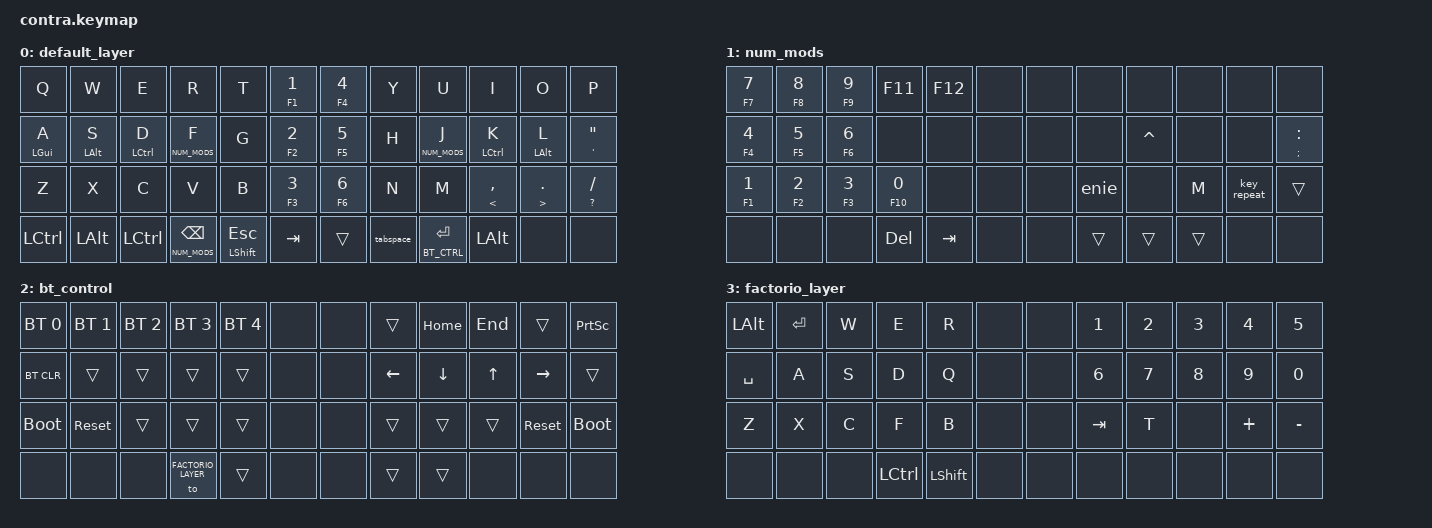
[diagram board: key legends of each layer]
#include <behaviors.dtsi>
#include <dt-bindings/zmk/keys.h>
#include <dt-bindings/zmk/bt.h>

#define DEFAULT  0
#define NUM_MODS 1
#define BT_CTRL  2
#define FACTORIO_LAYER  3

#define CE 2
#define CR 3
#define CT 4
#define CU 8
#define CI 9
#define CO 10
#define CP 11
#define CD 14
#define CF 15
#define CG 16
#define CH 19
#define CJ 20
#define CK 21
#define CC 26
#define CV 27
#define CM 32
#define CCOMMA 33

#define QUICK_TAP_MS 150

&lt {
    quick_tap_ms = <QUICK_TAP_MS>;
};

&mt {
    quick_tap_ms = <QUICK_TAP_MS>;
};

/ {
    macros {
        ZMK_MACRO(enie_lower,
            wait-ms = <20>;
            tap-ms = <20>;
            bindings
                = <&macro_press   &kp LALT>
                , <&macro_tap     &kp KP_N0 &kp KP_N2 &kp KP_N4 &kp KP_N1>
                , <&macro_release &kp LALT>
                ;
        )
        ZMK_MACRO(enie_upper,
            wait-ms = <20>;
            tap-ms = <20>;
            bindings
                = <&macro_press   &kp LALT>
                , <&macro_tap     &kp KP_N0 &kp KP_N2 &kp KP_N0 &kp KP_N9>
                , <&macro_release &kp LALT>
                ;
        )
        ZMK_MACRO(at_at,
            wait-ms = <30>;
            tap-ms = <30>;
            bindings
                = <&kp AT &kp AT>
                ;
        )
    };

    combos {
        compatible = "zmk,combos";
        combo_at {
            timeout-ms = <50>;
            key-positions = <CD CF>; // KP: D F
            bindings = <&kp AT>;
            layers = <DEFAULT>;
        };
        combo_tab {
            timeout-ms = <50>;
            key-positions = <CJ CK>; // KP: J K
            bindings = <&kp TAB>;
            layers = <DEFAULT>;
        };
        combo_lpar {
            timeout-ms = <50>;
            key-positions = <CD CV>; // KP: D V
            bindings = <&kp LPAR>;
            layers = <DEFAULT>;
        };
        combo_rpar {
            timeout-ms = <50>;
            key-positions = <CK CM>; // KP: K M
            bindings = <&kp RPAR>;
            layers = <DEFAULT>;
        };
        combo_minus {
            timeout-ms = <50>;
            key-positions = <CE CF>; // KP: E F
            bindings = <&mt UNDER MINUS>;
            layers = <DEFAULT>;
        };
        combo_amps {
            timeout-ms = <50>;
            key-positions = <CF CJ>; // KP: F J
            bindings = <&kp AMPS>;
            layers = <DEFAULT>;
        };
        combo_EXCL {
            timeout-ms = <50>;
            key-positions = <CG CH>; // KP: G H
            bindings = <&kp EXCL>;
            layers = <DEFAULT>;
        };
        combo_equal {
            timeout-ms = <50>;
            key-positions = <CI CJ>; // KP: I J
            bindings = <&mt PLUS EQUAL>;
            layers = <DEFAULT>;
        };
        combo_dollar {
            timeout-ms = <50>;
            key-positions = <CE CR>;
            bindings = <&kp DLLR>; // KP: E R
            layers = <DEFAULT>;
        };
        combo_percent {
            timeout-ms = <50>;
            key-positions = <CU CI>; // KP: U I
            bindings = <&kp PRCNT>;
            layers = <DEFAULT>;
        };
        combo_grave {
            timeout-ms = <50>;
            key-positions = <CM CCOMMA>; // KP: M ,
            bindings = <&mt TILDE GRAVE>;
            layers = <DEFAULT>;
        };
        combo_pipe {
            timeout-ms = <50>;
            key-positions = <CC CV>; // KP: C V
            bindings = <&mt BSLH PIPE>;
            layers = <DEFAULT>;
        };
        combo_lbkt2 {
            timeout-ms = <50>;
            key-positions = <CD CG>; // KP: D G
            bindings = <&mt LBRC LBKT>;
            layers = <DEFAULT>;
        };
        combo_rbkt2 {
            timeout-ms = <50>;
            key-positions = <CH CK>; // KP: H K
            bindings = <&mt RBRC RBKT>;
            layers = <DEFAULT>;
        };
        combo_under {
            timeout-ms = <50>;
            key-positions = <CR CD>; // KP: R D
            bindings = <&kp UNDER>;
            layers = <DEFAULT>;
        };
        combo_plus {
            timeout-ms = <50>;
            key-positions = <CU CK>; // KP: U K
            bindings = <&kp PLUS>;
            layers = <DEFAULT>;
        };
        combo_hash {
            timeout-ms = <50>;
            key-positions = <CR CJ>; // KP: R J
            bindings = <&kp HASH>;
            layers = <DEFAULT>;
        };
        combo_star {
            timeout-ms = <50>;
            key-positions = <CU CF>; // KP: U F
            bindings = <&kp STAR>;
            layers = <DEFAULT>;
        };

        combo_at_at {
            timeout-ms = <50>;
            key-positions = <CD CF>; // KP: D F
            bindings = <&at_at>;
            layers = <NUM_MODS>;
        };
         combo_esc {           
            timeout-ms = <50>;
            key-positions = <CD CT>; // KP: D T
            bindings = <&mt LSHIFT ESC>;
            layers = <DEFAULT>;
        };
        combo_default_layer {           
            timeout-ms = <50>;
            key-positions = <CO CP>; // KP: O P
            bindings = <&to DEFAULT>;
        };
        combo_factorio_tab {
            timeout-ms = <100>;
            key-positions = <CD CF>; // KP: D F
            bindings = <&kp TAB>;
            layers = <FACTORIO_LAYER>;
        };
        combo_factorio_esc {
            timeout-ms = <100>;
            key-positions = <CE CR>; // KP: E R
            bindings = <&kp ESC>;
            layers = <FACTORIO_LAYER>;
        };
    };

    behaviors {
            hm: homerow_mods {
                    compatible = "zmk,behavior-hold-tap";
                    label = "HOMEROW_MODS";
                    #binding-cells = <2>;
                    tapping-term-ms = <250>;
                    quick-tap-ms = <QUICK_TAP_MS>;
                    flavor = "tap-preferred";
                    bindings = <&kp>, <&kp>;
            };
            hl: homerow_layers {
                    compatible = "zmk,behavior-hold-tap";
                    label = "HOMEROW_LAYERS";
                    #binding-cells = <2>;
                    tapping-term-ms = <150>;
                    quick-tap-ms = <QUICK_TAP_MS>;
                    flavor = "tap-preferred";
                    bindings = <&mo>, <&kp>;
            };
            tabspace: tab_space  {
                    compatible = "zmk,behavior-mod-morph";
                    label = "TAB_SPACE";
                    #binding-cells = <0>;
                    bindings = <&mt LSHIFT SPACE>, <&kp TAB>;
                    mods = <(MOD_LALT | MOD_RALT)>;
            };
            enie: enie  {
                    compatible = "zmk,behavior-mod-morph";
                    label = "ENIE";
                    #binding-cells = <0>;
                    bindings = <&enie_lower>, <&enie_upper>;
                    mods = <(MOD_LSFT | MOD_RSFT)>;
            };
    };

    keymap {
        compatible = "zmk,keymap";

        default_layer {
// --------------------------------------------------------------------------------------------------------------------------------------------------------------------
// |   ESC   |    Q    |    W    |    E    |    R    |    T    |    Y    |    U    |    I    |    O    |    P    |    \    |
// |   TAB   |    A    |    S    |    D    |    F    |    G    |    H    |    J    |    K    |    L    |    ;    |    '    |
// |  SHIFT  |    Z    |    X    |    C    |    V    |    B    |    N    |    M    |    ,    |    .    |    /    |  ENTER  |
// |  CTRL   |    GUI  |    ALT  |    \    |    LOWER|    SPACE          |    RAISE|    LEFT |  RIGHT  |   UP    |  DOWN   |
            bindings = <
    &kp Q      &kp W      &kp E       &kp R              &kp T             &mt F1 N1    &mt F4 N4          &kp Y              &kp U              &kp I        &kp O      &kp P
    &hm LGUI A &hm LALT S &hm LCTL D  &hl NUM_MODS F     &kp G             &mt F2 N2    &mt F5 N5          &kp H              &hl NUM_MODS J     &hm LCTL K   &hm LALT L &mt SQT DQT
    &kp Z      &kp X      &kp C       &kp V              &kp B             &mt F3 N3    &mt F6 N6          &kp N              &kp M              &mt LT COMMA &mt GT DOT &mt QMARK FSLH
    &kp LCTRL  &kp LALT   &kp LCTRL   &lt NUM_MODS BSPC  &mt LSHIFT ESC    &kp TAB      &trans             &tabspace     &lt BT_CTRL ENTER  &kp LALT     &none      &none
            >;
        };

        num_mods {
// --------------------------------------------------------------------------------------------------------------------------------------------------------------------
// |   `     |    1    |    2    |    3    |    4    |    5    |    6    |    7    |    8    |    9    |    0    |    DEL  |
// |   TAB   |    F1   |   F2    |   F3    |   F4    |   F5    |   F6    |    -    |   PG_UP |    [    |    ]    |    \    |
// |  SHIFT  |    F7   |   F8    |   F9    |   F10   |   F11   |   F12   |    =    |  PG_DOWN|  HOME   |   END   |  ENTER  |
// |  CTRL   |    GUI  |    ALT  |  RESET  |    LOWER|    SPACE          |    RAISE|    LEFT |  RIGHT  |   UP    |  DOWN   |
            bindings = <
    &mt F7 N7   &mt F8 N8   &mt F9 N9    &kp F11        &kp F12       &none &none   &none        &none        &none        &none        &none
    &mt F4 N4   &mt F5 N5   &mt F6 N6    &none          &none         &none &none   &none        &kp CARET    &none        &none        &mt SEMI COLON
    &mt F1 N1   &mt F2 N2   &mt F3 N3    &mt F10 N0     &none         &none &none   &enie        &none        &kp M        &key_repeat  &trans
    &none       &none       &none        &kp DEL        &kp TAB       &none &none   &trans       &trans       &trans       &none        &none
            >;
        };

        bt_control {
            bindings = <
    &bt BT_SEL 0 &bt BT_SEL 1 &bt BT_SEL 2 &bt BT_SEL 3 &bt BT_SEL 4 &none &none      &trans   &kp HOME   &kp END    &trans     &kp PSCRN
    &bt BT_CLR   &trans       &trans       &trans       &trans       &none &none      &kp LEFT &kp DOWN   &kp UP     &kp RIGHT  &trans
    &bootloader  &sys_reset   &trans       &trans       &trans       &none &none      &trans   &trans     &trans     &sys_reset &bootloader
    &none        &none        &none        &to FACTORIO_LAYER &trans &none &none      &trans     &trans   &none      &none      &none
            >;
        };

        factorio_layer {
                    bindings = <
    &kp LALT    &kp ENTER  &kp W     &kp E       &kp R    &none &none         &kp N1     &kp N2      &kp N3        &kp N4        &kp N5   
    &kp SPACE   &kp A      &kp S     &kp D       &kp Q    &none &none         &kp N6     &kp N7      &kp N8      &kp N9        &kp N0       
    &kp Z       &kp X      &kp C     &kp F       &kp B    &none &none         &kp TAB    &kp T       &none       &kp PLUS      &kp MINUS
    &none       &none      &none     &kp LCTRL   &kp LSHIFT &none &none       &none      &none       &none       &none         &none
                    >;
            };

        
    };
};
